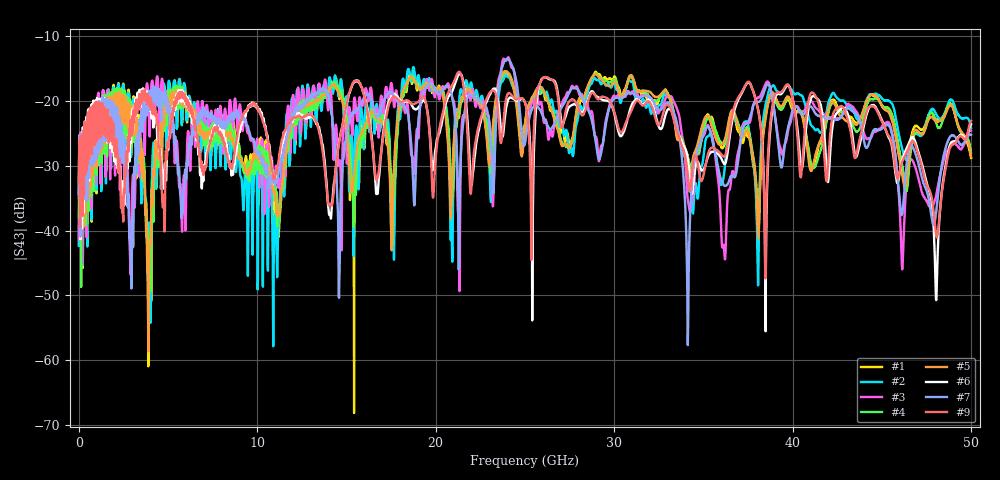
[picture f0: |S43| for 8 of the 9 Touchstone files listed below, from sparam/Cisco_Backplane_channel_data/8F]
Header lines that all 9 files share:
!Agilent Technologies,N5247A,US51170199,A.09.90.13
!Agilent N5247A: A.09.90.13
!Correction: S11(Full 4 Port(1,2,3,4))
!S12(Full 4 Port(1,2,3,4))
!S13(Full 4 Port(1,2,3,4))
!S14(Full 4 Port(1,2,3,4))
!S21(Full 4 Port(1,2,3,4))
!S22(Full 4 Port(1,2,3,4))
!S23(Full 4 Port(1,2,3,4))
!S24(Full 4 Port(1,2,3,4))
!S31(Full 4 Port(1,2,3,4))
!S32(Full 4 Port(1,2,3,4))
!S33(Full 4 Port(1,2,3,4))
!S34(Full 4 Port(1,2,3,4))
!S41(Full 4 Port(1,2,3,4))
!S42(Full 4 Port(1,2,3,4))
!S43(Full 4 Port(1,2,3,4))
!S44(Full 4 Port(1,2,3,4))
!S4P File: Measurements: <S11,S12,S13,S14>,
!<S21,S22,S23,S24>,
!<S31,S32,S33,S34>,
!<S41,S42,S43,S44>:
# Hz S  dB  R 50
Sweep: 10 MHz to 50 GHz
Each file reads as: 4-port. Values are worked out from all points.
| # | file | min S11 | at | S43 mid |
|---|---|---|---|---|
| 1 | Ch2_12_8F_f1.s4p | -48.1 dB | 181.8 MHz | -23.4 dB at 25 GHz |
| 2 | Ch2_12_8F_f2.s4p | -48.0 dB | 181.8 MHz | -23.9 dB at 25 GHz |
| 3 | Ch2_12_8F_f3.s4p | -48.1 dB | 181.8 MHz | -26.1 dB at 25 GHz |
| 4 | Ch3_17_8F_f1.s4p | -52.4 dB | 119.4 MHz | -24.0 dB at 25 GHz |
| 5 | Ch5_22_8F_f1.s4p | -45.3 dB | 88.11 MHz | -23.8 dB at 25 GHz |
| 6 | Ch5_22_8F_f5.s4p | -49.0 dB | 31.6 GHz | -20.2 dB at 25 GHz |
| 7 | Ch5_22_8F_f7.s4p | -59.8 dB | 19.02 GHz | -26.5 dB at 25 GHz |
| 8 | Ch7_28_8F_f2.s4p | -58.9 dB | 135 MHz | -24.2 dB at 25 GHz |
| 9 | Ch7_28_8F_f8.s4p | -58.1 dB | 135 MHz | -20.2 dB at 25 GHz |
